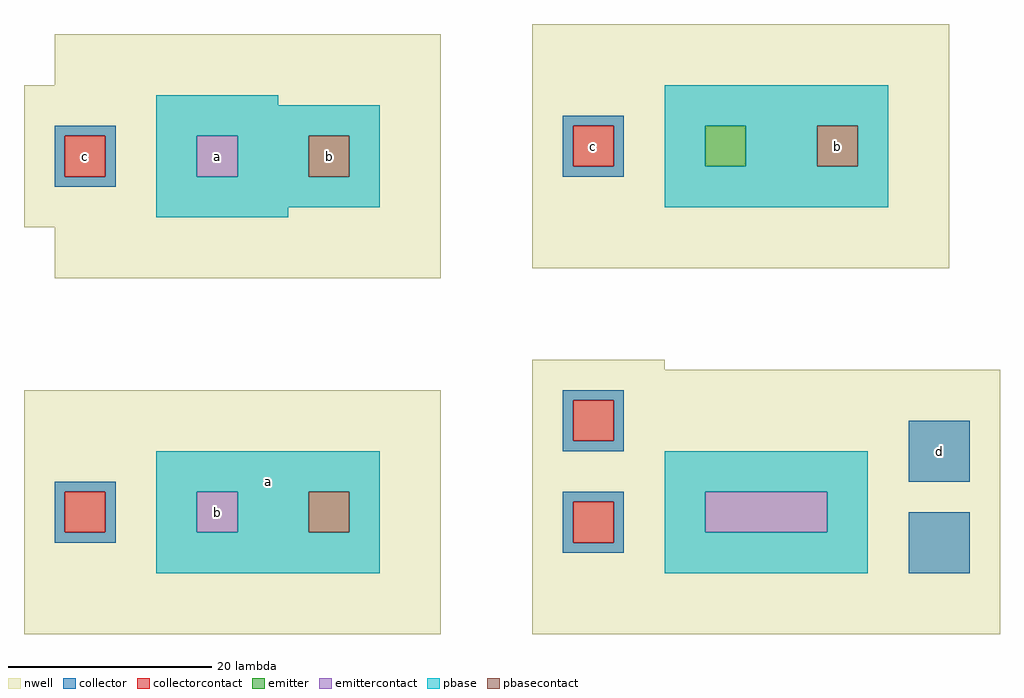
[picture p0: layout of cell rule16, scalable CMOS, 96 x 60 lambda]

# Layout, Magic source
magic
tech scmos
<< nwell >>
rect 2 54 40 59
rect -1 40 40 54
rect 2 35 40 40
rect 49 36 90 60
rect 49 26 62 27
rect -1 0 40 24
rect 49 0 95 26
<< collector >>
rect 2 49 8 50
rect 2 45 3 49
rect 7 45 8 49
rect 2 44 8 45
rect 52 50 58 51
rect 52 46 53 50
rect 57 46 58 50
rect 52 45 58 46
rect 52 23 58 24
rect 52 19 53 23
rect 57 19 58 23
rect 52 18 58 19
rect 2 14 8 15
rect 2 10 3 14
rect 7 10 8 14
rect 2 9 8 10
rect 86 15 92 21
rect 52 13 58 14
rect 52 9 53 13
rect 57 9 58 13
rect 52 8 58 9
rect 86 6 92 12
<< emitter >>
rect 66 46 70 50
<< pbase >>
rect 12 52 24 53
rect 12 49 34 52
rect 12 45 16 49
rect 20 45 27 49
rect 31 45 34 49
rect 62 50 84 54
rect 62 46 66 50
rect 70 46 77 50
rect 81 46 84 50
rect 12 42 34 45
rect 62 42 84 46
rect 12 41 25 42
rect 12 14 34 18
rect 62 14 82 18
rect 12 10 16 14
rect 20 10 27 14
rect 31 10 34 14
rect 12 6 34 10
rect 62 10 66 14
rect 78 10 82 14
rect 62 6 82 10
<< collectorcontact >>
rect 3 45 7 49
rect 53 46 57 50
rect 53 19 57 23
rect 3 10 7 14
rect 53 9 57 13
<< emittercontact >>
rect 16 45 20 49
rect 16 10 20 14
rect 66 10 78 14
<< pbasecontact >>
rect 27 45 31 49
rect 77 46 81 50
rect 27 10 31 14
<< labels >>
rlabel pbase 23 15 23 15 1 a
rlabel emittercontact 18 12 18 12 1 b
rlabel emittercontact 18 47 18 47 1 a
rlabel collectorcontact 5 47 5 47 1 c
rlabel pbasecontact 29 47 29 47 1 b
rlabel collector 89 18 89 18 1 d
rlabel collectorcontact 55 48 55 48 1 c
rlabel pbasecontact 79 48 79 48 1 b
<< end >>
